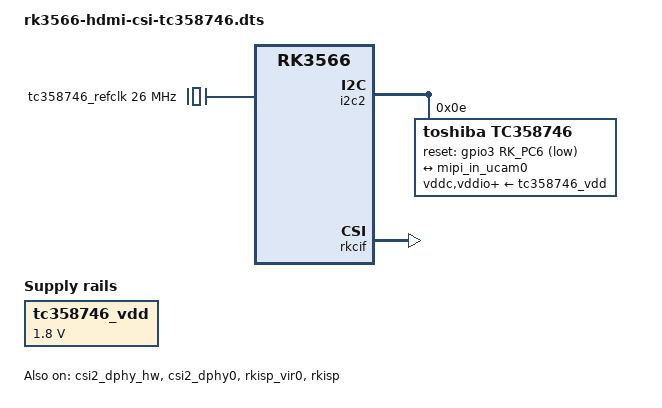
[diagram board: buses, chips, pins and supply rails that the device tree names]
/*
 * Device tree overlay for TC358746 Parallel to CSI-2 bridge on RK3566
 *
 * Toshiba TC358746AXBG - Parallel video to MIPI CSI-2 bridge
 * Can be used with parallel HDMI decoder chips or parallel camera sensors
 *
 * Compatible with Radxa Zero 3W and similar RK3566-based boards
 * Uses I2C2 and CSI2 DPHY0 in full mode (2 lanes)
 *
 * Copyright (c) 2024 MYSh LLC
 */
/dts-v1/;
/plugin/;

#include "dt-bindings.h"

/ {
	compatible = "rockchip,rk3566";

	metadata {
		title = "TC358746 Parallel to CSI-2 Bridge";
		category = "camera";
		exclusive = "csi2_dphy0";
		description = "Enable Toshiba TC358746 parallel video to CSI-2 bridge on CSI2 DPHY0";
	};
};

&{/} {
	/* TC358746 reference clock - 26MHz */
	tc358746_refclk: tc358746-refclk {
		status = "okay";
		compatible = "fixed-clock";
		clock-frequency = <26000000>;
		clock-output-names = "tc358746_refclk";
		#clock-cells = <0>;
	};

	/* Power supply for TC358746 */
	tc358746_vdd: tc358746-vdd {
		status = "okay";
		compatible = "regulator-fixed";
		regulator-name = "tc358746_vdd";
		regulator-min-microvolt = <1800000>;
		regulator-max-microvolt = <1800000>;
		regulator-always-on;
		regulator-boot-on;
	};
};

&i2c2 {
	status = "okay";
	pinctrl-names = "default";
	pinctrl-0 = <&i2c2m1_xfer>;
	#address-cells = <1>;
	#size-cells = <0>;

	tc358746: tc358746@0e {
		status = "okay";
		compatible = "toshiba,tc358746";
		reg = <0x0e>;
		clocks = <&tc358746_refclk>;
		clock-names = "refclk";

		/* Reset GPIO */
		reset-gpios = <&gpio3 RK_PC6 GPIO_ACTIVE_LOW>;

		/* Power supplies */
		vddc-supply = <&tc358746_vdd>;
		vddio-supply = <&tc358746_vdd>;
		vddmipi-supply = <&tc358746_vdd>;

		rockchip,camera-module-index = <0>;
		rockchip,camera-module-facing = "back";
		rockchip,camera-module-name = "tc358746-bridge";
		rockchip,camera-module-lens-name = "parallel-input";

		port@0 {
			reg = <0>;
			/* Parallel input port - connect to source */
			tc358746_in: endpoint {
				/* Configure based on your parallel video source */
				bus-width = <8>;
				hsync-active = <1>;
				vsync-active = <1>;
				pclk-sample = <1>;
			};
		};

		port@1 {
			reg = <1>;
			/* CSI-2 output port */
			tc358746_out: endpoint {
				remote-endpoint = <&mipi_in_ucam0>;
				data-lanes = <1 2>;
				clock-lanes = <0>;
				clock-noncontinuous;
				link-frequencies = /bits/ 64 <216000000>;
			};
		};
	};
};

&csi2_dphy_hw {
	status = "okay";
};

&csi2_dphy0 {
	status = "okay";

	ports {
		#address-cells = <1>;
		#size-cells = <0>;

		port@0 {
			reg = <0>;
			#address-cells = <1>;
			#size-cells = <0>;

			mipi_in_ucam0: endpoint@1 {
				reg = <1>;
				remote-endpoint = <&tc358746_out>;
				data-lanes = <1 2>;
			};
		};

		port@1 {
			reg = <1>;
			#address-cells = <1>;
			#size-cells = <0>;

			dphy0_out: endpoint@1 {
				reg = <1>;
				remote-endpoint = <&isp0_in>;
			};
		};
	};
};

&rkisp_vir0 {
	status = "okay";

	port {
		#address-cells = <1>;
		#size-cells = <0>;

		isp0_in: endpoint@0 {
			reg = <0>;
			remote-endpoint = <&dphy0_out>;
		};
	};
};

&rkisp {
	status = "okay";
};

&rkisp_mmu {
	status = "okay";
};

&rkcif_mmu {
	status = "okay";
};

&rkcif {
	status = "okay";
};
